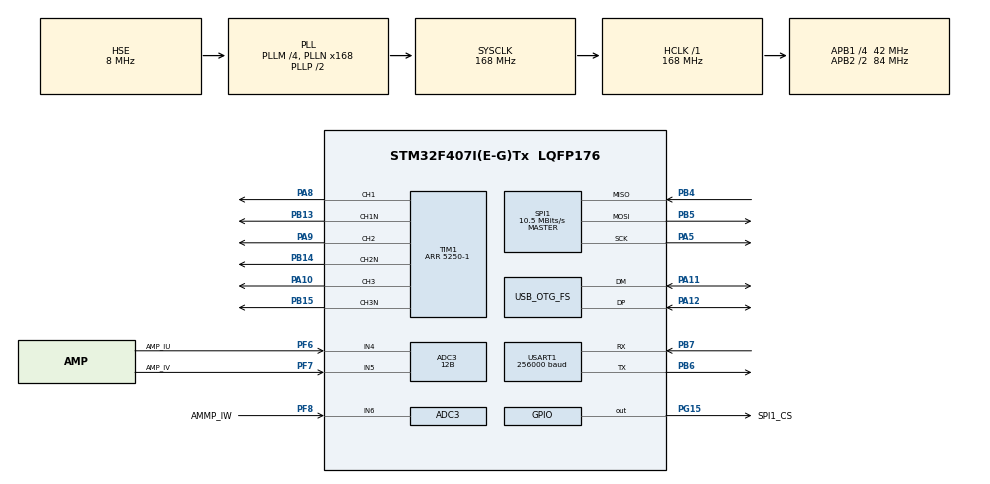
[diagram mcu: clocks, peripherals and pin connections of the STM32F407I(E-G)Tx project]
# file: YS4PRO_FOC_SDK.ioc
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ADC3.Channel-0\#ChannelRegularConversion=ADC_CHANNEL_4
ADC3.Channel-10\#ChannelRegularConversion=ADC_CHANNEL_5
ADC3.Channel-11\#ChannelRegularConversion=ADC_CHANNEL_6
ADC3.Channel-7\#ChannelInjectedConversion=ADC_CHANNEL_4
ADC3.Channel-8\#ChannelInjectedConversion=ADC_CHANNEL_5
ADC3.Channel-9\#ChannelInjectedConversion=ADC_CHANNEL_6
ADC3.DMAContinuousRequests=DISABLE
ADC3.EOCSelection=ADC_EOC_SINGLE_CONV
ADC3.EnableAnalogWatchDog=false
ADC3.ExternalTrigConv=ADC_SOFTWARE_START
ADC3.ExternalTrigInjecConv=ADC_EXTERNALTRIGINJECCONV_T1_TRGO
ADC3.ExternalTrigInjecConvEdge=ADC_EXTERNALTRIGINJECCONVEDGE_RISING
ADC3.InjNumberOfConversion=3
ADC3.InjectedOffset-7\#ChannelInjectedConversion=0
ADC3.InjectedOffset-8\#ChannelInjectedConversion=0
ADC3.InjectedOffset-9\#ChannelInjectedConversion=0
ADC3.InjectedRank-7\#ChannelInjectedConversion=1
ADC3.InjectedRank-8\#ChannelInjectedConversion=2
ADC3.InjectedRank-9\#ChannelInjectedConversion=3
ADC3.NbrOfConversion=3
ADC3.NbrOfConversionFlag=1
ADC3.Rank-0\#ChannelRegularConversion=1
ADC3.Rank-10\#ChannelRegularConversion=2
ADC3.Rank-11\#ChannelRegularConversion=3
ADC3.Resolution=ADC_RESOLUTION_12B
ADC3.SamplingTime-0\#ChannelRegularConversion=ADC_SAMPLETIME_3CYCLES
ADC3.SamplingTime-10\#ChannelRegularConversion=ADC_SAMPLETIME_3CYCLES
ADC3.SamplingTime-11\#ChannelRegularConversion=ADC_SAMPLETIME_3CYCLES
ADC3.SamplingTime-7\#ChannelInjectedConversion=ADC_SAMPLETIME_3CYCLES
ADC3.SamplingTime-8\#ChannelInjectedConversion=ADC_SAMPLETIME_3CYCLES
ADC3.SamplingTime-9\#ChannelInjectedConversion=ADC_SAMPLETIME_3CYCLES
ADC3.ScanConvMode=ENABLE
Mcu.Family=STM32F4
Mcu.Name=STM32F407I(E-G)Tx
Mcu.Package=LQFP176
NVIC.ADC_IRQn=true\:0\:0\:false\:false\:true\:true\:true\:true
NVIC.OTG_FS_IRQn=true\:0\:0\:false\:false\:true\:false\:true\:true
NVIC.PriorityGroup=NVIC_PRIORITYGROUP_4
NVIC.TIM1_UP_TIM10_IRQn=true\:0\:0\:false\:false\:true\:true\:true\:true
NVIC.TIM7_IRQn=true\:0\:0\:false\:false\:true\:true\:true\:true
PA10.Signal=S_TIM1_CH3
PA11.Mode=Device_Only
PA11.Signal=USB_OTG_FS_DM
PA12.Mode=Device_Only
PA12.Signal=USB_OTG_FS_DP
PA13.Mode=Serial_Wire
PA13.Signal=SYS_JTMS-SWDIO
PA14.Mode=Serial_Wire
PA14.Signal=SYS_JTCK-SWCLK
PA5.Mode=Full_Duplex_Master
PA5.Signal=SPI1_SCK
PA8.Signal=S_TIM1_CH1
PA9.Signal=S_TIM1_CH2
PB13.Mode=PWM Generation1 CH1 CH1N
PB13.Signal=TIM1_CH1N
PB14.Mode=PWM Generation2 CH2 CH2N
PB14.Signal=TIM1_CH2N
PB15.Mode=PWM Generation3 CH3 CH3N
PB15.Signal=TIM1_CH3N
PB4.Mode=Full_Duplex_Master
PB4.Signal=SPI1_MISO
PB5.Mode=Full_Duplex_Master
PB5.Signal=SPI1_MOSI
PB6.Mode=Asynchronous
PB6.Signal=USART1_TX
PB7.Mode=Asynchronous
PB7.Signal=USART1_RX
PC14-OSC32_IN.Mode=LSE-External-Oscillator
PC14-OSC32_IN.Signal=RCC_OSC32_IN
PC15-OSC32_OUT.Mode=LSE-External-Oscillator
PC15-OSC32_OUT.Signal=RCC_OSC32_OUT
PF6.GPIO_Label=AMP_IU
PF6.Mode=IN4
PF6.Signal=ADC3_IN4
PF7.GPIO_Label=AMP_IV
PF7.Mode=IN5
PF7.Signal=ADC3_IN5
PF8.GPIO_Label=AMMP_IW
PF8.Mode=IN6
PF8.Signal=ADC3_IN6
PG15.GPIO_Label=SPI1_CS
PG15.Signal=GPIO_Output
PH0-OSC_IN.Mode=HSE-External-Oscillator
PH0-OSC_IN.Signal=RCC_OSC_IN
PH1-OSC_OUT.Mode=HSE-External-Oscillator
PH1-OSC_OUT.Signal=RCC_OSC_OUT
ProjectManager.HeapSize=0x4000
ProjectManager.StackSize=0x4000
ProjectManager.TargetToolchain=CMake
RCC.48MHZClocksFreq_Value=48000000
RCC.AHBFreq_Value=168000000
RCC.APB1CLKDivider=RCC_HCLK_DIV4
RCC.APB1Freq_Value=42000000
RCC.APB1TimFreq_Value=84000000
RCC.APB2CLKDivider=RCC_HCLK_DIV2
RCC.APB2Freq_Value=84000000
RCC.APB2TimFreq_Value=168000000
RCC.CortexFreq_Value=168000000
RCC.HCLKFreq_Value=168000000
RCC.HSE_VALUE=8000000
RCC.HSI_VALUE=16000000
RCC.PLLM=4
RCC.PLLN=168
RCC.PLLQ=7
RCC.SYSCLKFreq_VALUE=168000000
RCC.SYSCLKSource=RCC_SYSCLKSOURCE_PLLCLK
RCC.VCOOutputFreq_Value=336000000
SH.S_TIM1_CH1.0=TIM1_CH1,PWM Generation1 CH1 CH1N
SH.S_TIM1_CH2.0=TIM1_CH2,PWM Generation2 CH2 CH2N
SH.S_TIM1_CH3.0=TIM1_CH3,PWM Generation3 CH3 CH3N
SPI1.BaudRatePrescaler=SPI_BAUDRATEPRESCALER_8
SPI1.CLKPhase=SPI_PHASE_2EDGE
SPI1.CalculateBaudRate=10.5 MBits/s
SPI1.Direction=SPI_DIRECTION_2LINES
SPI1.Mode=SPI_MODE_MASTER
SPI1.VirtualType=VM_MASTER
TIM1.AutoReloadPreload=TIM_AUTORELOAD_PRELOAD_ENABLE
TIM1.Channel-Output\ Compare4\ No\ Output=TIM_CHANNEL_4
TIM1.Channel-PWM\ Generation1\ CH1\ CH1N=TIM_CHANNEL_1
TIM1.Channel-PWM\ Generation2\ CH2\ CH2N=TIM_CHANNEL_2
TIM1.Channel-PWM\ Generation3\ CH3\ CH3N=TIM_CHANNEL_3
TIM1.Channel-PWM\ Generation4\ No\ Output=TIM_CHANNEL_4
TIM1.CounterMode=TIM_COUNTERMODE_CENTERALIGNED1
TIM1.DeadTime=120
TIM1.OCMode_PWM-PWM\ Generation4\ No\ Output=TIM_OCMODE_PWM2
TIM1.Period=5250-1
TIM1.RepetitionCounter=0
TIM1.TIM_MasterOutputTrigger=TIM_TRGO_OC4REF
TIM1.TIM_MasterSlaveMode=TIM_MASTERSLAVEMODE_ENABLE
TIM7.AutoReloadPreload=TIM_AUTORELOAD_PRELOAD_ENABLE
TIM7.Period=125-1
TIM7.Prescaler=84-1
USART1.BaudRate=256000
USART1.VirtualMode=VM_ASYNC
USB_DEVICE.CLASS_NAME_FS=CDC
USB_DEVICE.VirtualMode-CDC_FS=Cdc
USB_DEVICE.VirtualModeFS=Cdc_FS
USB_OTG_FS.VirtualMode=Device_Only
VP_TIM1_VS_ClockSourceINT.Mode=Internal
VP_TIM1_VS_no_output4.Mode=PWM Generation4 No Output
VP_TIM7_VS_ClockSourceINT.Mode=Enable_Timer
VP_USB_DEVICE_VS_USB_DEVICE_CDC_FS.Mode=CDC_FS
board=custom

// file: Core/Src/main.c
/* USER CODE BEGIN Header */
/**
 ******************************************************************************
 * @file           : main.c
 * @brief          : Main program body
 ******************************************************************************
 * @attention
 *
 * Copyright (c) 2026 STMicroelectronics.
 * All rights reserved.
 *
 * This software is licensed under terms that can be found in the LICENSE file
 * in the root directory of this software component.
 * If no LICENSE file comes with this software, it is provided AS-IS.
 *
 ******************************************************************************
 */
/* USER CODE END Header */
#include "main.h"
#include "adc.h"
#include "gpio.h"
#include "spi.h"
#include "stm32f407xx.h"
#include "stm32f4xx_hal_gpio.h"
#include "tim.h"
#include "usart.h"
#include "usb_device.h"

/* USER CODE BEGIN Includes */
#include "board.h"
#include "bsp_encoder.h"
#include "bsp_spi.h"
#include "foc_test.h"
/* USER CODE END Includes */

/* USER CODE BEGIN PV */
// bsp_encoder_t *g_enc;

float mech_angle, elec_angle, speed;
FOC_PWM_t FOC_PWM;
/* USER CODE END PV */

void SystemClock_Config(void);
/* USER CODE BEGIN PFP */
void USB_Reconnection(void);
/* USER CODE END PFP */

int main(void) {

    /* USER CODE BEGIN 1 */
    float elec_angle = 0.0f; // 电角度 (rad)
    float elec_freq = 5.0f;  // 目标电频率 (Hz)，决定转速
    /* USER CODE END 1 */

    /* MCU Configuration--------------------------------------------------------*/

    /* Reset of all peripherals, Initializes the Flash interface and the Systick. */
    HAL_Init();

    /* Configure the system clock */
    SystemClock_Config();

    /* Initialize all configured peripherals */
    MX_GPIO_Init();
    MX_TIM1_Init();
    MX_USART1_UART_Init();
    MX_ADC3_Init();
    MX_SPI1_Init();
    MX_TIM7_Init();

    /* USER CODE BEGIN 2 */
    USB_Reconnection();
    MX_USB_DEVICE_Init();

    Board_DWT_Init();
    FOC_Init();
    HAL_Delay(200);

    uint32_t last_tick = DWT->CYCCNT;
    float dt;
    // FOC_Align_Zero();
    // FOC_Start_OpenLoop(0.5f);       // 初始Vq = 0.5V，慢慢加

    /* USER CODE END 2 */

    /* Infinite loop */
    /* USER CODE BEGIN WHILE */
    while (1) {

        // elec_angle += 0.017453f;
        // if (elec_angle >= 6.283185307f) elec_angle -= 6.283185307f;
        // if (elec_angle < 0.0f) elec_angle += 6.283185307f;
        // FOC_PWM.angle_el = elec_angle;
        // FOC_PWM.Uqd.d    = 0.0f;
        // FOC_PWM.Uqd.q    = 1.2f;
        // FOC_PWM.bus_Voltage  = 12.0f;
        // FOC_PWM.wave_period  = 5250;

        // FOC_Run_SVPWM(&FOC_PWM);

        /* USER CODE END WHILE */

    }
}

void SystemClock_Config(void) {
    RCC_OscInitTypeDef RCC_OscInitStruct = {0};
    RCC_ClkInitTypeDef RCC_ClkInitStruct = {0};

    /** Configure the main internal regulator output voltage
     */
    __HAL_RCC_PWR_CLK_ENABLE();
    __HAL_PWR_VOLTAGESCALING_CONFIG(PWR_REGULATOR_VOLTAGE_SCALE1);

    /** Initializes the RCC Oscillators according to the specified parameters
     * in the RCC_OscInitTypeDef structure.
     */
    RCC_OscInitStruct.OscillatorType = RCC_OSCILLATORTYPE_HSE;
    RCC_OscInitStruct.HSEState = RCC_HSE_ON;
    RCC_OscInitStruct.PLL.PLLState = RCC_PLL_ON;
    RCC_OscInitStruct.PLL.PLLSource = RCC_PLLSOURCE_HSE;
    RCC_OscInitStruct.PLL.PLLM = 4;
    RCC_OscInitStruct.PLL.PLLN = 168;
    RCC_OscInitStruct.PLL.PLLP = RCC_PLLP_DIV2;
    RCC_OscInitStruct.PLL.PLLQ = 7;
    if (HAL_RCC_OscConfig(&RCC_OscInitStruct) != HAL_OK) {
        Error_Handler();
    }

    /** Initializes the CPU, AHB and APB buses clocks
     */
    RCC_ClkInitStruct.ClockType = RCC_CLOCKTYPE_HCLK | RCC_CLOCKTYPE_SYSCLK | RCC_CLOCKTYPE_PCLK1 | RCC_CLOCKTYPE_PCLK2;
    RCC_ClkInitStruct.SYSCLKSource = RCC_SYSCLKSOURCE_PLLCLK;
    RCC_ClkInitStruct.AHBCLKDivider = RCC_SYSCLK_DIV1;
    RCC_ClkInitStruct.APB1CLKDivider = RCC_HCLK_DIV4;
    RCC_ClkInitStruct.APB2CLKDivider = RCC_HCLK_DIV2;

    if (HAL_RCC_ClockConfig(&RCC_ClkInitStruct, FLASH_LATENCY_5) != HAL_OK) {
        Error_Handler();
    }
}

/* USER CODE BEGIN 4 */

/*用在MX_USB_DEVICE_Init函数前，方便主机重新识别USB*/
void USB_Reconnection(void)
{
  GPIO_InitTypeDef GPIO_InitStruct = {0};

  // 1. 配置 PA12 (USB_D+) 为推挽输出，初始拉低
  GPIO_InitStruct.Pin = GPIO_PIN_12;
  GPIO_InitStruct.Mode = GPIO_MODE_OUTPUT_PP;
  GPIO_InitStruct.Pull = GPIO_PULLDOWN;     // 确保默认是低电平
  GPIO_InitStruct.Speed = GPIO_SPEED_FREQ_LOW;
  HAL_GPIO_Init(GPIOA, &GPIO_InitStruct);

  // 2. 将 D+ 拉低约 50ms，模拟断开连接
  HAL_GPIO_WritePin(GPIOA, GPIO_PIN_12, GPIO_PIN_RESET);
  HAL_Delay(50);                             // 50ms 足够主机检测到断开

  // 3. 释放 D+，外部 1.5kΩ 上拉电阻会将其拉高，模拟重新连接
  HAL_GPIO_WritePin(GPIOA, GPIO_PIN_12, GPIO_PIN_SET);
  HAL_Delay(50);                             // 等待主机识别新设备
}
/* USER CODE END 4 */

void Error_Handler(void) {
    __disable_irq();
    while (1) {
    }
}
